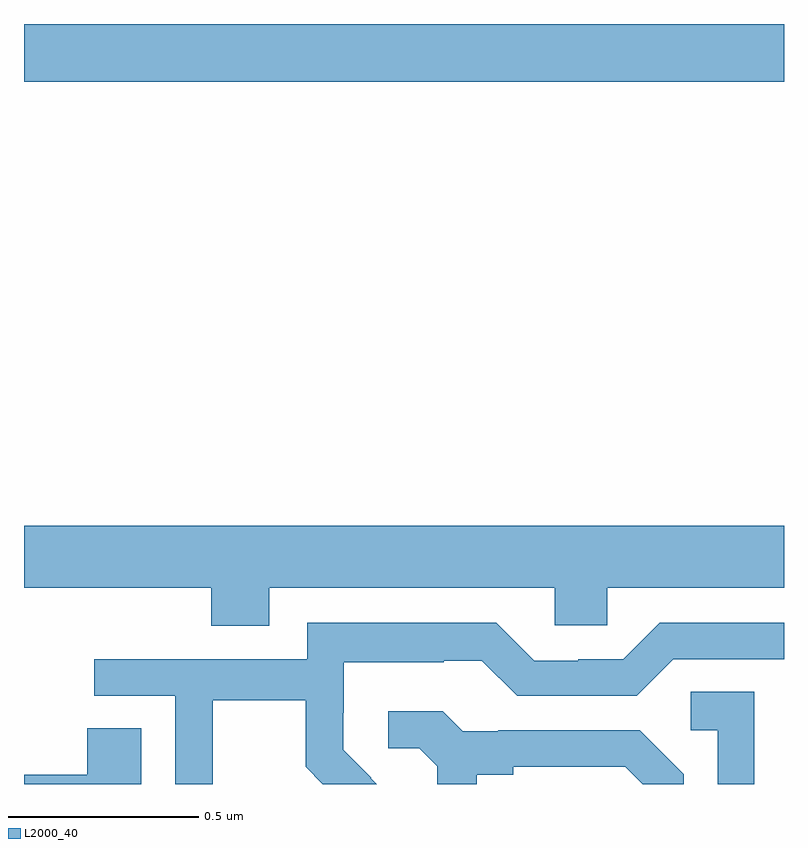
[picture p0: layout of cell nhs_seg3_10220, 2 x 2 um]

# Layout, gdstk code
import gdstk
lib = gdstk.Library(unit=1e-6, precision=1e-09)
def R(c, l, rs):  # rectangles x0, y0, x1, y1
    for r in rs: c.add(gdstk.rectangle(r[:2], r[2:], *l))
def P(c, l, *ps):  # polygons
    for p in ps: c.add(gdstk.Polygon(p, *l))
L2000_40 = (2000, 40)

nhs_seg3_10220 = lib.new_cell('nhs_seg3_10220')
R(nhs_seg3_10220, L2000_40, [(238,702.248,240,702.4)])
P(nhs_seg3_10220, L2000_40, [(238.645,700.916),(239.397,700.916),(239.397,700.818),(239.535,700.818),(239.535,700.916),(240,700.916),(240,701.08),(238,701.08),(238,700.916),(238.493,700.916),(238.493,700.817),(238.645,700.817)],
  [(238.497,700.62),(238.741,700.62),(238.741,700.445),(238.786,700.4),(238.928,700.4),(238.913,700.415),(238.914,700.416),(238.84,700.49),(238.84,700.587),(238.842,700.587),(238.842,700.721),(239.105,700.721),(239.105,700.725),(239.205,700.725),(239.298,700.632),(239.613,700.632),(239.709,700.728),(240,700.728),(240,700.824),(239.673,700.824),(239.577,700.728),(239.459,700.728),(239.459,700.725),(239.343,700.725),(239.243,700.825),(238.746,700.825),(238.746,700.728),(238.185,700.728),(238.185,700.632),(238.398,700.632),(238.398,700.4),(238.497,700.4)],
  [(239.922,700.643),(239.754,700.643),(239.754,700.542),(239.826,700.542),(239.826,700.4),(239.922,700.4)],
  [(239.191,700.424),(239.287,700.424),(239.287,700.446),(239.582,700.446),(239.628,700.4),(239.736,700.4),(239.736,700.426),(239.62,700.542),(239.248,700.542),(239.248,700.539),(239.154,700.539),(239.102,700.591),(238.959,700.591),(238.959,700.494),(239.04,700.494),(239.087,700.447),(239.087,700.4),(239.191,700.4)],
  [(238.309,700.547),(238.166,700.547),(238.166,700.424),(238,700.424),(238,700.4),(238.309,700.4)])

lib.write_gds('nhs_seg3_10220.gds')
